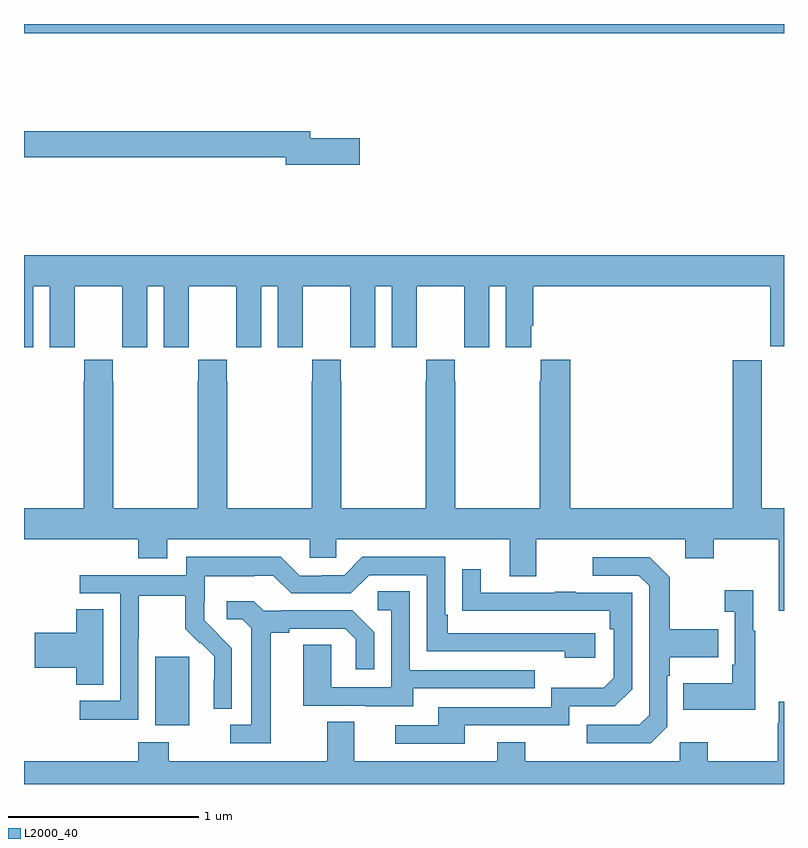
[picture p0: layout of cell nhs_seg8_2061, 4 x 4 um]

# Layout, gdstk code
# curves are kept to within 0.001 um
import gdstk
lib = gdstk.Library(unit=1e-6, precision=1e-09)
def R(c, l, rs):  # rectangles x0, y0, x1, y1
    for r in rs: c.add(gdstk.rectangle(r[:2], r[2:], *l))
def P(c, l, *ps):  # polygons
    for p in ps: c.add(gdstk.Polygon(p, *l))
L2000_40 = (2000, 40)

nhs_seg8_2061 = lib.new_cell('nhs_seg8_2061')
R(nhs_seg8_2061, L2000_40, [(241.691,1094.21,241.87,1094.571), (241,1097.852,245,1097.9)])
P(nhs_seg8_2061, L2000_40, [(242.767,1097.3),(242.506,1097.3),(242.506,1097.336),(241,1097.336),(241,1097.2),(242.378,1097.2),(242.378,1097.158),(242.767,1097.158)],
  [(241,1096.2),(241.048,1096.2),(241.048,1096.52),(241.136,1096.52),(241.136,1096.2),(241.266,1096.2),(241.266,1096.312),(241.267,1096.312),(241.267,1096.52),(241.517,1096.52),(241.517,1096.312),(241.518,1096.312),(241.518,1096.2),(241.648,1096.2),(241.648,1096.52),(241.736,1096.52),(241.736,1096.2),(241.866,1096.2),(241.866,1096.312),(241.867,1096.312),(241.867,1096.52),(242.117,1096.52),(242.117,1096.312),(242.118,1096.312),(242.118,1096.2),(242.248,1096.2),(242.248,1096.52),(242.336,1096.52),(242.336,1096.2),(242.466,1096.2),(242.466,1096.312),(242.467,1096.312),(242.467,1096.52),(242.717,1096.52),(242.717,1096.312),(242.718,1096.312),(242.718,1096.2),(242.848,1096.2),(242.848,1096.52),(242.936,1096.52),(242.936,1096.2),(243.066,1096.2),(243.066,1096.312),(243.067,1096.312),(243.067,1096.52),(243.317,1096.52),(243.317,1096.312),(243.318,1096.312),(243.318,1096.2),(243.448,1096.2),(243.448,1096.52),(243.536,1096.52),(243.536,1096.2),(243.67,1096.2),(243.67,1096.312),(243.68,1096.312),(243.68,1096.52),(244.928,1096.52),(244.928,1096.203),(245,1096.203),(245,1096.684),(241,1096.684)],
  [(245,1095.352),(244.882,1095.352),(244.882,1096.131),(244.73,1096.131),(244.73,1095.352),(243.875,1095.352),(243.875,1096.132),(243.721,1096.132),(243.721,1096.019),(243.715,1096.019),(243.715,1095.352),(243.27,1095.352),(243.27,1096.019),(243.267,1096.019),(243.267,1096.132),(243.117,1096.132),(243.117,1096.019),(243.115,1096.019),(243.115,1095.352),(242.67,1095.352),(242.67,1096.019),(242.667,1096.019),(242.667,1096.132),(242.517,1096.132),(242.517,1096.019),(242.515,1096.019),(242.515,1095.352),(242.07,1095.352),(242.07,1096.019),(242.067,1096.019),(242.067,1096.132),(241.917,1096.132),(241.917,1096.019),(241.915,1096.019),(241.915,1095.352),(241.47,1095.352),(241.47,1096.019),(241.467,1096.019),(241.467,1096.132),(241.317,1096.132),(241.317,1096.019),(241.315,1096.019),(241.315,1095.352),(241,1095.352),(241,1095.188),(241.601,1095.188),(241.601,1095.089),(241.753,1095.089),(241.753,1095.188),(242.505,1095.188),(242.505,1095.09),(242.643,1095.09),(242.643,1095.188),(243.557,1095.188),(243.557,1094.994),(243.697,1094.994),(243.697,1095.188),(244.481,1095.188),(244.481,1095.089),(244.629,1095.089),(244.629,1095.188),(244.973,1095.188),(244.973,1094.811),(245,1094.811)],
  [(241.602,1094.668),(241.605,1094.668),(241.605,1094.892),(241.849,1094.892),(241.849,1094.717),(241.926,1094.64),(241.929,1094.643),(242,1094.573),(242,1094.45),(241.998,1094.45),(241.998,1094.296),(242.094,1094.296),(242.094,1094.614),(241.948,1094.762),(241.948,1094.859),(241.95,1094.859),(241.95,1094.993),(242.213,1094.993),(242.213,1094.997),(242.313,1094.997),(242.406,1094.904),(242.721,1094.904),(242.817,1095),(243.12,1095),(243.12,1094.598),(243.845,1094.598),(243.845,1094.564),(244.006,1094.564),(244.006,1094.694),(243.229,1094.694),(243.229,1094.791),(243.216,1094.791),(243.216,1095.096),(242.781,1095.096),(242.685,1095),(242.567,1095),(242.567,1094.997),(242.451,1094.997),(242.351,1095.097),(241.854,1095.097),(241.854,1095),(241.293,1095),(241.293,1094.904),(241.506,1094.904),(241.506,1094.337),(241.293,1094.337),(241.293,1094.239),(241.602,1094.239)],
  [(244.386,1094.202),(244.386,1094.471),(244.399,1094.471),(244.399,1094.567),(244.655,1094.567),(244.655,1094.715),(244.399,1094.715),(244.399,1094.987),(244.293,1095.093),(243.993,1095.093),(243.993,1094.997),(244.236,1094.997),(244.29,1094.943),(244.29,1094.262),(244.239,1094.211),(243.963,1094.211),(243.963,1094.115),(244.299,1094.115)],
  [(243.319,1094.208),(243.87,1094.208),(243.87,1094.31),(244.11,1094.31),(244.2,1094.4),(244.2,1094.907),(243.905,1094.907),(243.905,1094.912),(243.793,1094.912),(243.793,1094.907),(243.403,1094.907),(243.403,1095.031),(243.307,1095.031),(243.307,1094.812),(244.084,1094.811),(244.084,1094.714),(244.104,1094.714),(244.104,1094.46),(244.051,1094.407),(243.774,1094.407),(243.774,1094.304),(243.179,1094.304),(243.179,1094.208),(242.955,1094.208),(242.955,1094.112),(243.319,1094.112)],
  [(244.849,1094.707),(244.837,1094.707),(244.837,1094.92),(244.689,1094.92),(244.689,1094.807),(244.74,1094.807),(244.74,1094.527),(244.728,1094.527),(244.728,1094.431),(244.471,1094.431),(244.471,1094.291),(244.849,1094.291)],
  [(243.049,1094.403),(243.689,1094.403),(243.689,1094.499),(243.03,1094.499),(243.03,1094.915),(242.862,1094.915),(242.862,1094.814),(242.934,1094.814),(242.934,1094.409),(242.616,1094.409),(242.616,1094.633),(242.471,1094.633),(242.471,1094.313),(242.795,1094.313),(242.795,1094.309),(243.049,1094.309)],
  [(242.299,1094.696),(242.395,1094.696),(242.395,1094.718),(242.69,1094.718),(242.747,1094.661),(242.747,1094.505),(242.844,1094.505),(242.844,1094.698),(242.728,1094.814),(242.356,1094.814),(242.356,1094.811),(242.262,1094.811),(242.21,1094.863),(242.067,1094.863),(242.067,1094.766),(242.148,1094.766),(242.195,1094.719),(242.195,1094.211),(242.085,1094.211),(242.085,1094.115),(242.299,1094.115)],
  [(241.417,1094.819),(241.274,1094.819),(241.274,1094.696),(241.056,1094.696),(241.056,1094.513),(241.274,1094.513),(241.274,1094.422),(241.417,1094.422)],
  [(245,1094.332),(244.973,1094.332),(244.973,1094.219),(244.966,1094.219),(244.966,1094.02),(244.599,1094.02),(244.599,1094.119),(244.452,1094.119),(244.452,1094.02),(243.639,1094.02),(243.639,1094.119),(243.491,1094.119),(243.491,1094.02),(242.737,1094.02),(242.737,1094.228),(242.597,1094.228),(242.597,1094.02),(241.761,1094.02),(241.761,1094.119),(241.601,1094.119),(241.601,1094.02),(241,1094.02),(241,1093.9),(245,1093.9)])

lib.write_gds('nhs_seg8_2061.gds')
